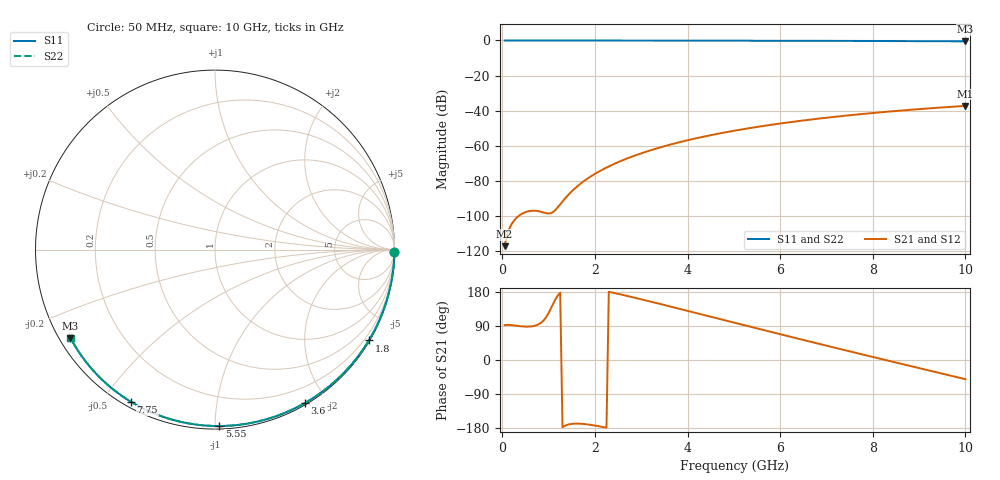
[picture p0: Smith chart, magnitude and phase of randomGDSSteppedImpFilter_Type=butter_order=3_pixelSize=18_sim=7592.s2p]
! freq	dB(S11)	phase(S11)	dB(S12)	phase(S12)
!  dB(S21)	phase(S21)	dB(S22)	phase(S22)
!S-par simulation data
#  GHz  S  DB  R 50
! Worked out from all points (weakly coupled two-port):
!   200 points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, 50 MHz to 10 GHz, reference 50 ohm
!   highest |S21| = -37.21 dB at 10 GHz (marker M1); lowest = -117.0 dB at 50 MHz (marker M2)
!   lowest |S11| = -0.5 dB at 10 GHz (marker M3), VSWR 34.48, Z = 1.56 - j14.1 ohm
!   |S11| at or under -10 dB: nowhere
!   |S22| runs from -0.5 to 0.0 dB; largest |S21 - S12| = 0
!   S11 on the Smith chart (normalised r, x): 50 MHz: open; 1.8 GHz: 0.03, -3.66; 3.6 GHz: 0.02, -1.75; 5.55 GHz: 0.02, -1.02; 7.75 GHz: 0.02, -0.59; 10 GHz: 0.03, -0.28
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0.05  -0.00 -0.9  -116.98 91.8  -116.98 91.8  -0.00 -0.9
0.45  -0.01 -7.8  -98.20 88.4  -98.20 88.4  -0.01 -7.8
0.9  -0.02 -15.4  -97.90 105.5  -97.90 105.5  -0.02 -15.4
1.3  -0.03 -22.2  -91.56 -177.4  -91.56 -177.4  -0.03 -22.2
1.75  -0.04 -29.7  -80.22 -168.7  -80.22 -168.7  -0.04 -29.7
1.8  -0.04 -30.5  -79.27 -169.4  -79.27 -169.4  -0.04 -30.5
1.95  -0.04 -33.0  -76.67 -171.9  -76.67 -171.9  -0.04 -33.0
2.1  -0.05 -35.5  -74.37 -175.1  -74.37 -175.1  -0.05 -35.5
2.3  -0.05 -38.8  -71.64 180.0  -71.64 180.0  -0.05 -38.8
2.5  -0.05 -42.0  -69.23 174.6  -69.23 174.6  -0.05 -42.0
2.9  -0.06 -48.5  -65.10 163.2  -65.10 163.2  -0.06 -48.5
3.4  -0.08 -56.4  -60.88 148.1  -60.88 148.1  -0.08 -56.4
3.6  -0.08 -59.5  -59.41 142.0  -59.41 142.0  -0.08 -59.5
4.3  -0.10 -70.3  -54.97 120.4  -54.97 120.4  -0.10 -70.3
5.05  -0.13 -81.4  -51.14 97.2  -51.14 97.2  -0.13 -81.4
5.55  -0.15 -88.6  -48.97 81.8  -48.97 81.8  -0.15 -88.6
6.1  -0.17 -96.4  -46.87 65.0  -46.87 65.0  -0.17 -96.4
6.7  -0.20 -104.7  -44.85 46.8  -44.85 46.8  -0.20 -104.7
7.75  -0.28 -118.9  -41.88 15.4  -41.88 15.4  -0.28 -118.9
8.35  -0.33 -126.9  -40.43 -2.3  -40.43 -2.3  -0.33 -126.8
9.2  -0.41 -138.0  -38.64 -27.2  -38.64 -27.2  -0.41 -138.0
10  -0.50 -148.6  -37.21 -50.7  -37.21 -50.7  -0.50 -148.6
